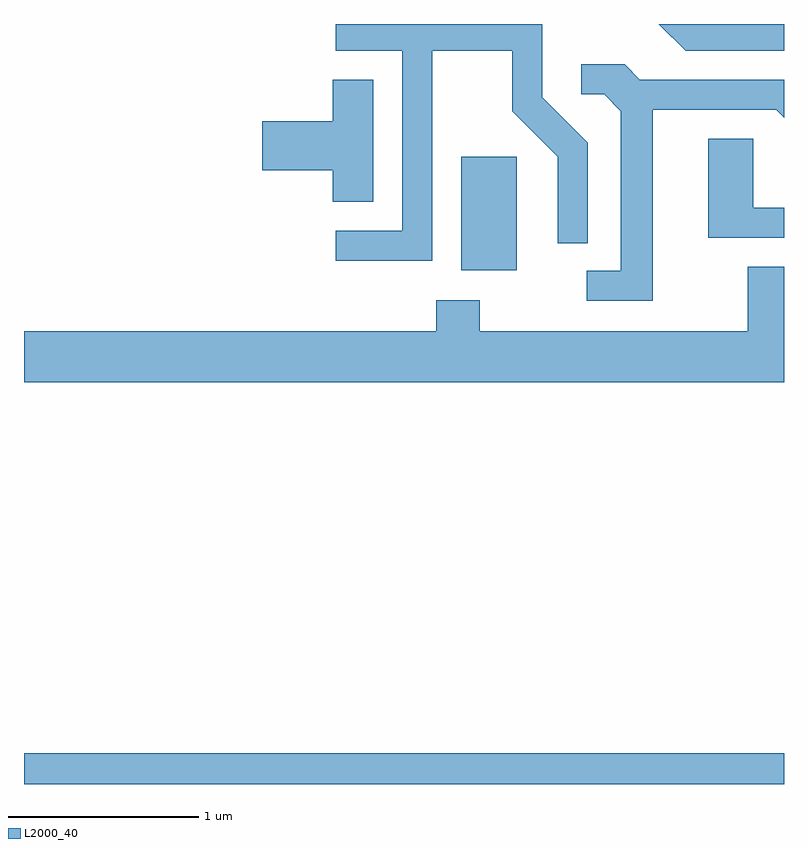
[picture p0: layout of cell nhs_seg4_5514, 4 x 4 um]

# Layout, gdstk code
import gdstk
lib = gdstk.Library(unit=1e-6, precision=1e-09)
def R(c, l, rs):  # rectangles x0, y0, x1, y1
    for r in rs: c.add(gdstk.rectangle(r[:2], r[2:], *l))
def P(c, l, *ps):  # polygons
    for p in ps: c.add(gdstk.Polygon(p, *l))
L2000_40 = (2000, 40)

nhs_seg4_5514 = lib.new_cell('nhs_seg4_5514')
R(nhs_seg4_5514, L2000_40, [(347.611,1265.982,351.611,1266.144), (349.911,1268.686,350.204,1269.284)])
P(nhs_seg4_5514, L2000_40, [(349.759,1269.841),(350.181,1269.841),(350.181,1269.524),(350.421,1269.284),(350.421,1268.828),(350.579,1268.828),(350.579,1269.357),(350.339,1269.597),(350.339,1269.982),(349.253,1269.982),(349.253,1269.841),(349.601,1269.841),(349.601,1268.894),(349.253,1268.894),(349.253,1268.736),(349.759,1268.736)],
  [(351.611,1269.982),(350.953,1269.982),(351.094,1269.841),(351.611,1269.841)],
  [(350.919,1269.531),(351.569,1269.531),(351.611,1269.489),(351.611,1269.689),(350.852,1269.689),(350.772,1269.769),(350.543,1269.769),(350.543,1269.611),(350.664,1269.611),(350.751,1269.524),(350.751,1268.684),(350.573,1268.684),(350.573,1268.526),(350.919,1268.526)],
  [(349.449,1269.689),(349.236,1269.689),(349.236,1269.469),(348.866,1269.469),(348.866,1269.211),(349.236,1269.211),(349.236,1269.046),(349.449,1269.046)],
  [(351.611,1269.014),(351.449,1269.014),(351.449,1269.379),(351.211,1269.379),(351.211,1268.856),(351.611,1268.856)],
  [(351.611,1268.704),(351.421,1268.704),(351.421,1268.364),(350.009,1268.364),(350.009,1268.529),(349.781,1268.529),(349.781,1268.364),(347.611,1268.364),(347.611,1268.096),(351.611,1268.096)])

lib.write_gds('nhs_seg4_5514.gds')
